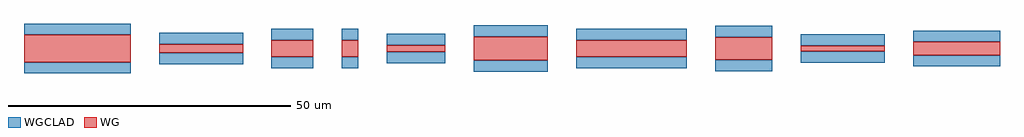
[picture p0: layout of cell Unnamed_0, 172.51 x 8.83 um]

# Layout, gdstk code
import gdstk
lib = gdstk.Library(unit=1e-6, precision=1e-09)
def R(c, l, rs):  # rectangles x0, y0, x1, y1
    for r in rs: c.add(gdstk.rectangle(r[:2], r[2:], *l))
WG = (1, 0)
WGCLAD = (111, 0)

straight_cssym_f7fe636c_ = lib.new_cell('straight_CSsym_f7fe636c_2304_L15328')
R(straight_cssym_f7fe636c_, WG, [(0,-1.152,15.328,1.152)])
R(straight_cssym_f7fe636c_, WGCLAD, [(0,-3.152,15.328,-1.152), (0,1.152,15.328,3.152)])

c_straight_cssym_f7fe636c_ = lib.new_cell('straight_CSsym_f7fe636c_1024_L14910')
R(c_straight_cssym_f7fe636c_, WG, [(0,-0.512,14.91,0.512)])
R(c_straight_cssym_f7fe636c_, WGCLAD, [(0,-2.512,14.91,-0.512), (0,0.512,14.91,2.512)])

c_straight_cssym_f7fe636c__ = lib.new_cell('straight_CSsym_f7fe636c_3996_L10115')
R(c_straight_cssym_f7fe636c__, WG, [(0,-1.998,10.115,1.998)])
R(c_straight_cssym_f7fe636c__, WGCLAD, [(0,-3.998,10.115,-1.998), (0,1.998,10.115,3.998)])

c_straight_cssym_f7fe636c___ = lib.new_cell('straight_CSsym_f7fe636c_2926_L19544')
R(c_straight_cssym_f7fe636c___, WG, [(0,-1.463,19.544,1.463)])
R(c_straight_cssym_f7fe636c___, WGCLAD, [(0,-3.463,19.544,-1.463), (0,1.463,19.544,3.463)])

c_straight_cssym_f7fe636c____ = lib.new_cell('straight_CSsym_f7fe636c_4164_L13126')
R(c_straight_cssym_f7fe636c____, WG, [(0,-2.082,13.126,2.082)])
R(c_straight_cssym_f7fe636c____, WGCLAD, [(0,-4.082,13.126,-2.082), (0,2.082,13.126,4.082)])

c_straight_cssym_f7fe636c_____ = lib.new_cell('straight_CSsym_f7fe636c_1186_L10383')
R(c_straight_cssym_f7fe636c_____, WG, [(0,-0.593,10.383,0.593)])
R(c_straight_cssym_f7fe636c_____, WGCLAD, [(0,-2.593,10.383,-0.593), (0,0.593,10.383,2.593)])

c_straight_cssym_f7fe636c______ = lib.new_cell('straight_CSsym_f7fe636c_2966_L2986')
R(c_straight_cssym_f7fe636c______, WG, [(0,-1.483,2.986,1.483)])
R(c_straight_cssym_f7fe636c______, WGCLAD, [(0,-3.483,2.986,-1.483), (0,1.483,2.986,3.483)])

c_straight_cssym_f7fe636c_______ = lib.new_cell('straight_CSsym_f7fe636c_2974_L7405')
R(c_straight_cssym_f7fe636c_______, WG, [(0,-1.487,7.405,1.487)])
R(c_straight_cssym_f7fe636c_______, WGCLAD, [(0,-3.487,7.405,-1.487), (0,1.487,7.405,3.487)])

c_straight_cssym_f7fe636c________ = lib.new_cell('straight_CSsym_f7fe636c_1526_L14810')
R(c_straight_cssym_f7fe636c________, WG, [(0,-0.763,14.81,0.763)])
R(c_straight_cssym_f7fe636c________, WGCLAD, [(0,-2.763,14.81,-0.763), (0,0.763,14.81,2.763)])

c_straight_cssym_f7fe636c_________ = lib.new_cell('straight_CSsym_f7fe636c_4832_L18906')
R(c_straight_cssym_f7fe636c_________, WG, [(0,-2.416,18.906,2.416)])
R(c_straight_cssym_f7fe636c_________, WGCLAD, [(0,-4.416,18.906,-2.416), (0,2.416,18.906,4.416)])

unnamed_0 = lib.new_cell('Unnamed_0')
unnamed_0.add(gdstk.Reference(straight_cssym_f7fe636c_, (162.185,9.416)))
unnamed_0.add(gdstk.Reference(c_straight_cssym_f7fe636c_, (142.275,9.416)))
unnamed_0.add(gdstk.Reference(c_straight_cssym_f7fe636c__, (127.16,9.416)))
unnamed_0.add(gdstk.Reference(c_straight_cssym_f7fe636c___, (102.616,9.416)))
unnamed_0.add(gdstk.Reference(c_straight_cssym_f7fe636c____, (84.49,9.416)))
unnamed_0.add(gdstk.Reference(c_straight_cssym_f7fe636c_____, (69.107,9.416)))
unnamed_0.add(gdstk.Reference(c_straight_cssym_f7fe636c______, (61.121,9.416)))
unnamed_0.add(gdstk.Reference(c_straight_cssym_f7fe636c_______, (48.716,9.416)))
unnamed_0.add(gdstk.Reference(c_straight_cssym_f7fe636c________, (28.906,9.416)))
unnamed_0.add(gdstk.Reference(c_straight_cssym_f7fe636c_________, (5,9.416)))

lib.write_gds('Unnamed_0.gds')
